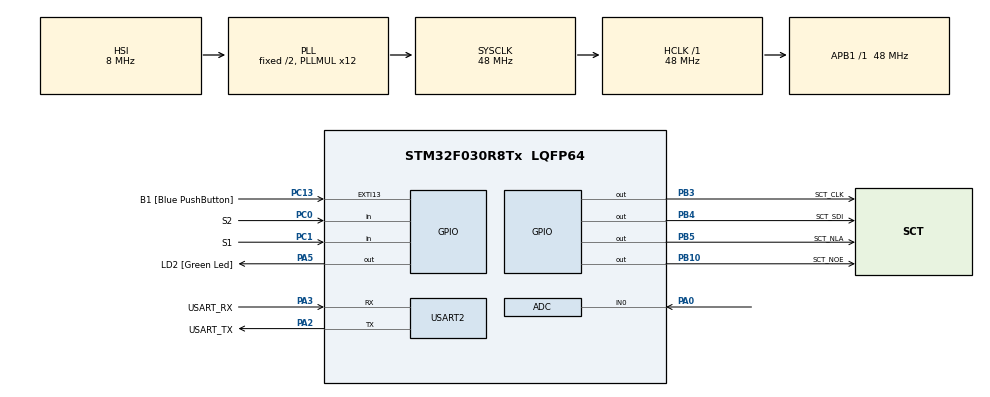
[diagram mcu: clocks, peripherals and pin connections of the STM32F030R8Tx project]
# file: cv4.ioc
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ADC.ContinuousConvMode=ENABLE
ADC.Overrun=ADC_OVR_DATA_OVERWRITTEN
ADC.SamplingTime=ADC_SAMPLETIME_239CYCLES_5
Mcu.Family=STM32F0
Mcu.Name=STM32F030R8Tx
Mcu.Package=LQFP64
NVIC.ADC1_IRQn=true\:0\:0\:false\:false\:true\:true\:true\:true
PA0.Mode=IN0
PA0.Signal=ADC_IN0
PA13.GPIO_Label=TMS
PA13.Mode=Serial_Wire
PA13.Signal=SYS_SWDIO
PA14.GPIO_Label=TCK
PA14.Mode=Serial_Wire
PA14.Signal=SYS_SWCLK
PA2.GPIO_Label=USART_TX
PA2.GPIO_Mode=GPIO_MODE_AF_PP
PA2.GPIO_PuPd=GPIO_NOPULL
PA2.GPIO_Speed=GPIO_SPEED_FREQ_LOW
PA2.Mode=Asynchronous
PA2.Signal=USART2_TX
PA3.GPIO_Label=USART_RX
PA3.GPIO_Mode=GPIO_MODE_AF_PP
PA3.GPIO_PuPd=GPIO_NOPULL
PA3.GPIO_Speed=GPIO_SPEED_FREQ_LOW
PA3.Mode=Asynchronous
PA3.Signal=USART2_RX
PA5.GPIO_Label=LD2 [Green Led]
PA5.GPIO_Mode=GPIO_MODE_OUTPUT_PP
PA5.GPIO_PuPd=GPIO_NOPULL
PA5.GPIO_Speed=GPIO_SPEED_FREQ_LOW
PA5.Signal=GPIO_Output
PB10.GPIO_Label=SCT_NOE
PB10.Signal=GPIO_Output
PB3.GPIO_Label=SCT_CLK
PB3.Signal=GPIO_Output
PB4.GPIO_Label=SCT_SDI
PB4.Signal=GPIO_Output
PB5.GPIO_Label=SCT_NLA
PB5.Signal=GPIO_Output
PC0.GPIO_Label=S2
PC0.Signal=GPIO_Input
PC1.GPIO_Label=S1
PC1.Signal=GPIO_Input
PC13.GPIO_Label=B1 [Blue PushButton]
PC13.GPIO_ModeDefaultEXTI=GPIO_MODE_IT_FALLING
PC13.Signal=GPXTI13
PC14-OSC32_IN.Mode=LSE-External-Oscillator
PC14-OSC32_IN.Signal=RCC_OSC32_IN
PC15-OSC32_OUT.Mode=LSE-External-Oscillator
PC15-OSC32_OUT.Signal=RCC_OSC32_OUT
PF0-OSC_IN.Mode=HSE-External-Clock-Source
PF0-OSC_IN.Signal=RCC_OSC_IN
PF1-OSC_OUT.Signal=RCC_OSC_OUT
ProjectManager.HeapSize=0x200
ProjectManager.StackSize=0x400
ProjectManager.TargetToolchain=STM32CubeIDE
RCC.AHBFreq_Value=48000000
RCC.APB1Freq_Value=48000000
RCC.APB1TimFreq_Value=48000000
RCC.HCLKFreq_Value=48000000
RCC.PLLMUL=RCC_PLL_MUL12
RCC.SYSCLKFreq_VALUE=48000000
RCC.SYSCLKSource=RCC_SYSCLKSOURCE_PLLCLK
USART2.VirtualMode-Asynchronous=VM_ASYNC
VP_ADC_TempSens_Input.Mode=IN-TempSens
VP_ADC_Vref_Input.Mode=IN-Vrefint
board=NUCLEO-F030R8

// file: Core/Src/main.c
/* USER CODE BEGIN Header */
/**
 ******************************************************************************
 * @file           : main.c
 * @brief          : Main program body
 ******************************************************************************
 * @attention
 *
 * Copyright (c) 2023 STMicroelectronics.
 * All rights reserved.
 *
 * This software is licensed under terms that can be found in the LICENSE file
 * in the root directory of this software component.
 * If no LICENSE file comes with this software, it is provided AS-IS.
 *
 ******************************************************************************
 */
/* USER CODE END Header */
#include "main.h"

/* USER CODE BEGIN Includes */
#include "sct.h"

/* USER CODE END Includes */

/* USER CODE BEGIN PD */
#define ADC_Q 12
#define TEMP110_CAL_ADDR ((uint16_t*) ((uint32_t) 0x1FFFF7C2))
#define TEMP30_CAL_ADDR ((uint16_t*) ((uint32_t) 0x1FFFF7B8))
#define VREFINT_CAL_ADDR ((uint16_t*) ((uint32_t) 0x1FFFF7BA))

/* USER CODE END PD */

ADC_HandleTypeDef hadc;

UART_HandleTypeDef huart2;

/* USER CODE BEGIN PV */
static volatile uint32_t raw_pot;
static volatile uint32_t raw_temp;
static volatile uint32_t raw_volt;
/* USER CODE END PV */

void SystemClock_Config(void);
static void MX_GPIO_Init(void);
static void MX_USART2_UART_Init(void);
static void MX_ADC_Init(void);

/* USER CODE BEGIN 0 */

void HAL_ADC_ConvCpltCallback(ADC_HandleTypeDef *hadc) {
	/*raw_pot = HAL_ADC_GetValue(hadc);
	 raw_temp = HAL_ADC_GetValue(hadc);
	 raw_volt = HAL_ADC_GetValue(hadc); */

	static uint8_t channel = 0;
	static uint32_t avg_pot;

	switch (channel) {
	case 0: // Potenciometr
		raw_pot = avg_pot >> ADC_Q;
		avg_pot -= raw_pot;
		avg_pot += HAL_ADC_GetValue(hadc); // Potenciometr
		break;

	case 1:
		raw_temp = HAL_ADC_GetValue(hadc); // Temp
		break;

	case 2:
		raw_volt = HAL_ADC_GetValue(hadc); // Voltage
		break;
	default:
		break;
	}

	if (__HAL_ADC_GET_FLAG(hadc, ADC_FLAG_EOS)) {
		channel = 0;
	} else {
		channel++;
	}
}

/* USER CODE END 0 */

int main(void)
{

  /* MCU Configuration--------------------------------------------------------*/

  /* Reset of all peripherals, Initializes the Flash interface and the Systick. */
  HAL_Init();

  /* Configure the system clock */
  SystemClock_Config();

  /* Initialize all configured peripherals */
  MX_GPIO_Init();
  MX_USART2_UART_Init();
  MX_ADC_Init();
  /* USER CODE BEGIN 2 */
	sct_init();
	HAL_ADCEx_Calibration_Start(&hadc);
	HAL_ADC_Start_IT(&hadc);

  /* USER CODE END 2 */

  /* Infinite loop */
  /* USER CODE BEGIN WHILE */

	while (1)
	{
	static enum { SHOW_POT, SHOW_VOLT, SHOW_TEMP } state = SHOW_POT; //stav automat
	static uint32_t delay;
	if (state == SHOW_TEMP) {
		int32_t temperature = (raw_temp - (int32_t)(*TEMP30_CAL_ADDR));
		temperature = temperature * (int32_t)(110 - 30);
		temperature = temperature / (int32_t)(*TEMP110_CAL_ADDR - *TEMP30_CAL_ADDR);
		temperature = temperature + 30;

			sct_value(temperature, 0-raw_pot * 9 / 4096);
	}else if (state == SHOW_VOLT) {
		uint32_t voltage = 330 * (*VREFINT_CAL_ADDR) / raw_volt;

			sct_value(voltage, 0-raw_pot * 9 / 4096);
	}
	if(HAL_GPIO_ReadPin(S1_GPIO_Port, S1_Pin) == 0){
		state = SHOW_VOLT;
		delay = HAL_GetTick();
	}

	if(HAL_GPIO_ReadPin(S2_GPIO_Port, S2_Pin) == 0){
		state = SHOW_TEMP;
		delay = HAL_GetTick();
	}

	if(HAL_GetTick() > delay + 1000){
		state = SHOW_POT;
	}

		/* Temperature sensor calibration value address */
		/* Internal voltage reference calibration value address */

    /* USER CODE END WHILE */

	}
}

void SystemClock_Config(void)
{
  RCC_OscInitTypeDef RCC_OscInitStruct = {0};
  RCC_ClkInitTypeDef RCC_ClkInitStruct = {0};

  /** Initializes the RCC Oscillators according to the specified parameters
  * in the RCC_OscInitTypeDef structure.
  */
  RCC_OscInitStruct.OscillatorType = RCC_OSCILLATORTYPE_HSI|RCC_OSCILLATORTYPE_HSI14;
  RCC_OscInitStruct.HSIState = RCC_HSI_ON;
  RCC_OscInitStruct.HSI14State = RCC_HSI14_ON;
  RCC_OscInitStruct.HSICalibrationValue = RCC_HSICALIBRATION_DEFAULT;
  RCC_OscInitStruct.HSI14CalibrationValue = 16;
  RCC_OscInitStruct.PLL.PLLState = RCC_PLL_ON;
  RCC_OscInitStruct.PLL.PLLSource = RCC_PLLSOURCE_HSI;
  RCC_OscInitStruct.PLL.PLLMUL = RCC_PLL_MUL12;
  RCC_OscInitStruct.PLL.PREDIV = RCC_PREDIV_DIV1;
  if (HAL_RCC_OscConfig(&RCC_OscInitStruct) != HAL_OK)
  {
    Error_Handler();
  }

  /** Initializes the CPU, AHB and APB buses clocks
  */
  RCC_ClkInitStruct.ClockType = RCC_CLOCKTYPE_HCLK|RCC_CLOCKTYPE_SYSCLK
                              |RCC_CLOCKTYPE_PCLK1;
  RCC_ClkInitStruct.SYSCLKSource = RCC_SYSCLKSOURCE_PLLCLK;
  RCC_ClkInitStruct.AHBCLKDivider = RCC_SYSCLK_DIV1;
  RCC_ClkInitStruct.APB1CLKDivider = RCC_HCLK_DIV1;

  if (HAL_RCC_ClockConfig(&RCC_ClkInitStruct, FLASH_LATENCY_1) != HAL_OK)
  {
    Error_Handler();
  }
}

static void MX_ADC_Init(void)
{

  ADC_ChannelConfTypeDef sConfig = {0};

  /** Configure the global features of the ADC (Clock, Resolution, Data Alignment and number of conversion)
  */
  hadc.Instance = ADC1;
  hadc.Init.ClockPrescaler = ADC_CLOCK_ASYNC_DIV1;
  hadc.Init.Resolution = ADC_RESOLUTION_12B;
  hadc.Init.DataAlign = ADC_DATAALIGN_RIGHT;
  hadc.Init.ScanConvMode = ADC_SCAN_DIRECTION_FORWARD;
  hadc.Init.EOCSelection = ADC_EOC_SINGLE_CONV;
  hadc.Init.LowPowerAutoWait = DISABLE;
  hadc.Init.LowPowerAutoPowerOff = DISABLE;
  hadc.Init.ContinuousConvMode = ENABLE;
  hadc.Init.DiscontinuousConvMode = DISABLE;
  hadc.Init.ExternalTrigConv = ADC_SOFTWARE_START;
  hadc.Init.ExternalTrigConvEdge = ADC_EXTERNALTRIGCONVEDGE_NONE;
  hadc.Init.DMAContinuousRequests = DISABLE;
  hadc.Init.Overrun = ADC_OVR_DATA_OVERWRITTEN;
  if (HAL_ADC_Init(&hadc) != HAL_OK)
  {
    Error_Handler();
  }

  /** Configure for the selected ADC regular channel to be converted.
  */
  sConfig.Channel = ADC_CHANNEL_0;
  sConfig.Rank = ADC_RANK_CHANNEL_NUMBER;
  sConfig.SamplingTime = ADC_SAMPLETIME_239CYCLES_5;
  if (HAL_ADC_ConfigChannel(&hadc, &sConfig) != HAL_OK)
  {
    Error_Handler();
  }

  /** Configure for the selected ADC regular channel to be converted.
  */
  sConfig.Channel = ADC_CHANNEL_TEMPSENSOR;
  if (HAL_ADC_ConfigChannel(&hadc, &sConfig) != HAL_OK)
  {
    Error_Handler();
  }

  /** Configure for the selected ADC regular channel to be converted.
  */
  sConfig.Channel = ADC_CHANNEL_VREFINT;
  if (HAL_ADC_ConfigChannel(&hadc, &sConfig) != HAL_OK)
  {
    Error_Handler();
  }

}

static void MX_USART2_UART_Init(void)
{

  huart2.Instance = USART2;
  huart2.Init.BaudRate = 38400;
  huart2.Init.WordLength = UART_WORDLENGTH_8B;
  huart2.Init.StopBits = UART_STOPBITS_1;
  huart2.Init.Parity = UART_PARITY_NONE;
  huart2.Init.Mode = UART_MODE_TX_RX;
  huart2.Init.HwFlowCtl = UART_HWCONTROL_NONE;
  huart2.Init.OverSampling = UART_OVERSAMPLING_16;
  huart2.Init.OneBitSampling = UART_ONE_BIT_SAMPLE_DISABLE;
  huart2.AdvancedInit.AdvFeatureInit = UART_ADVFEATURE_NO_INIT;
  if (HAL_UART_Init(&huart2) != HAL_OK)
  {
    Error_Handler();
  }

}

static void MX_GPIO_Init(void)
{
  GPIO_InitTypeDef GPIO_InitStruct = {0};

  /* GPIO Ports Clock Enable */
  __HAL_RCC_GPIOC_CLK_ENABLE();
  __HAL_RCC_GPIOF_CLK_ENABLE();
  __HAL_RCC_GPIOA_CLK_ENABLE();
  __HAL_RCC_GPIOB_CLK_ENABLE();

  /*Configure GPIO pin Output Level */
  HAL_GPIO_WritePin(LD2_GPIO_Port, LD2_Pin, GPIO_PIN_RESET);

  /*Configure GPIO pin Output Level */
  HAL_GPIO_WritePin(GPIOB, SCT_NOE_Pin|SCT_CLK_Pin|SCT_SDI_Pin|SCT_NLA_Pin, GPIO_PIN_RESET);

  /*Configure GPIO pin : B1_Pin */
  GPIO_InitStruct.Pin = B1_Pin;
  GPIO_InitStruct.Mode = GPIO_MODE_IT_FALLING;
  GPIO_InitStruct.Pull = GPIO_NOPULL;
  HAL_GPIO_Init(B1_GPIO_Port, &GPIO_InitStruct);

  /*Configure GPIO pins : S2_Pin S1_Pin */
  GPIO_InitStruct.Pin = S2_Pin|S1_Pin;
  GPIO_InitStruct.Mode = GPIO_MODE_INPUT;
  GPIO_InitStruct.Pull = GPIO_NOPULL;
  HAL_GPIO_Init(GPIOC, &GPIO_InitStruct);

  /*Configure GPIO pin : LD2_Pin */
  GPIO_InitStruct.Pin = LD2_Pin;
  GPIO_InitStruct.Mode = GPIO_MODE_OUTPUT_PP;
  GPIO_InitStruct.Pull = GPIO_NOPULL;
  GPIO_InitStruct.Speed = GPIO_SPEED_FREQ_LOW;
  HAL_GPIO_Init(LD2_GPIO_Port, &GPIO_InitStruct);

  /*Configure GPIO pins : SCT_NOE_Pin SCT_CLK_Pin SCT_SDI_Pin SCT_NLA_Pin */
  GPIO_InitStruct.Pin = SCT_NOE_Pin|SCT_CLK_Pin|SCT_SDI_Pin|SCT_NLA_Pin;
  GPIO_InitStruct.Mode = GPIO_MODE_OUTPUT_PP;
  GPIO_InitStruct.Pull = GPIO_NOPULL;
  GPIO_InitStruct.Speed = GPIO_SPEED_FREQ_LOW;
  HAL_GPIO_Init(GPIOB, &GPIO_InitStruct);

}

void Error_Handler(void)
{
	__disable_irq();
	while (1) {
	}
}
